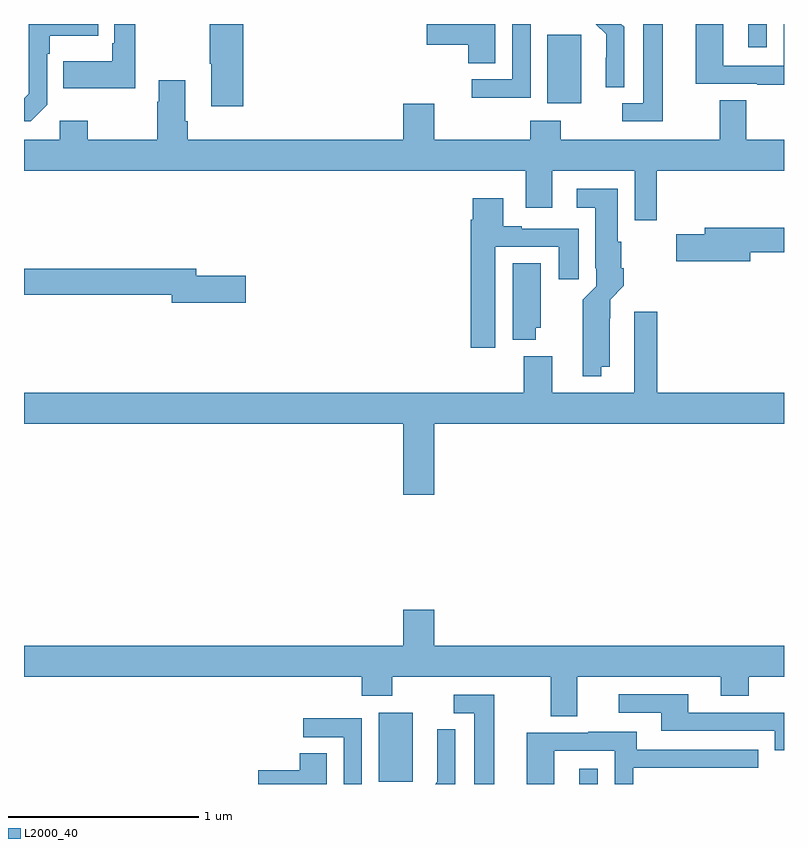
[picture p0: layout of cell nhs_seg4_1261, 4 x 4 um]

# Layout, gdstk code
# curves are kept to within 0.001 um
import gdstk
lib = gdstk.Library(unit=1e-6, precision=1e-09)
def R(c, l, rs):  # rectangles x0, y0, x1, y1
    for r in rs: c.add(gdstk.rectangle(r[:2], r[2:], *l))
def P(c, l, *ps):  # polygons
    for p in ps: c.add(gdstk.Polygon(p, *l))
L2000_40 = (2000, 40)

nhs_seg4_1261 = lib.new_cell('nhs_seg4_1261')
R(nhs_seg4_1261, L2000_40, [(177.923,818.9,178.02,818.98), (176.867,818.913,177.046,819.274), (177.755,822.482,177.934,822.843), (178.811,822.777,178.908,822.9)])
P(nhs_seg4_1261, L2000_40, [(175.585,822.9),(175.476,822.9),(175.476,822.799),(175.464,822.799),(175.464,822.703),(175.207,822.703),(175.207,822.563),(175.585,822.563)],
  [(175.122,822.474),(175.122,822.743),(175.135,822.743),(175.135,822.839),(175.391,822.839),(175.391,822.9),(175.026,822.9),(175.026,822.534),(175,822.508),(175,822.387),(175.035,822.387)],
  [(177.481,822.9),(177.12,822.9),(177.12,822.79),(177.338,822.79),(177.338,822.694),(177.481,822.694)],
  [(178.363,822.9),(178.259,822.9),(178.259,822.483),(178.149,822.483),(178.149,822.387),(178.363,822.387)],
  [(178.158,822.886),(178.144,822.9),(178.008,822.9),(178.064,822.845),(178.064,822.722),(178.062,822.722),(178.062,822.568),(178.158,822.568)],
  [(177.666,822.9),(177.57,822.9),(177.57,822.609),(177.357,822.609),(177.357,822.511),(177.666,822.511)],
  [(176.153,822.9),(175.978,822.9),(175.978,822.691),(175.985,822.691),(175.985,822.468),(176.153,822.468)],
  [(179,822.9),(178.998,822.9),(178.998,822.681),(178.68,822.681),(178.68,822.9),(178.535,822.9),(178.535,822.585),(178.859,822.585),(178.859,822.581),(179,822.581)],
  [(178.331,822.128),(179,822.128),(179,822.292),(178.801,822.292),(178.801,822.5),(178.661,822.5),(178.661,822.292),(177.825,822.292),(177.825,822.391),(177.665,822.391),(177.665,822.292),(177.16,822.292),(177.16,822.481),(176.996,822.481),(176.996,822.292),(175.862,822.292),(175.862,822.388),(175.849,822.388),(175.849,822.604),(175.709,822.604),(175.709,822.491),(175.702,822.491),(175.702,822.292),(175.335,822.292),(175.335,822.391),(175.188,822.391),(175.188,822.292),(175,822.292),(175,822.128),(177.641,822.128),(177.641,821.934),(177.781,821.934),(177.781,822.128),(178.215,822.128),(178.215,821.868),(178.331,821.868)],
  [(178.039,821.096),(178.084,821.096),(178.085,821.45),(178.157,821.522),(178.157,821.614),(178.144,821.614),(178.144,821.754),(178.126,821.754),(178.126,822.034),(177.909,822.034),(177.909,821.933),(178.007,821.933),(178.007,821.614),(178.011,821.614),(178.011,821.52),(177.941,821.45),(177.942,821.045),(178.039,821.045)],
  [(177.481,821.727),(177.815,821.727),(177.815,821.556),(177.919,821.556),(177.919,821.823),(177.619,821.823),(177.619,821.836),(177.523,821.836),(177.523,821.983),(177.362,821.983),(177.362,821.87),(177.35,821.87),(177.35,821.196),(177.481,821.196)],
  [(178.822,821.698),(179,821.698),(179,821.827),(178.583,821.827),(178.583,821.793),(178.434,821.793),(178.434,821.651),(178.822,821.651)],
  [(177.694,821.301),(177.721,821.301),(177.721,821.642),(177.572,821.642),(177.572,821.237),(177.694,821.237)],
  [(176.167,821.576),(175.906,821.576),(175.906,821.612),(175,821.612),(175,821.476),(175.778,821.476),(175.778,821.434),(176.167,821.434)],
  [(177.16,820.796),(179,820.796),(179,820.96),(178.334,820.96),(178.334,821.386),(178.211,821.386),(178.211,820.96),(177.781,820.96),(177.781,821.152),(177.629,821.152),(177.629,820.96),(175,820.96),(175,820.796),(176.996,820.796),(176.996,820.422),(177.16,820.422)],
  [(177.913,819.464),(178.667,819.464),(178.667,819.365),(178.815,819.365),(178.815,819.464),(179,819.464),(179,819.628),(177.16,819.628),(177.16,819.817),(176.996,819.817),(176.996,819.628),(175,819.628),(175,819.464),(176.777,819.464),(176.777,819.365),(176.937,819.365),(176.937,819.464),(177.773,819.464),(177.773,819.256),(177.913,819.256)],
  [(179,819.276),(178.495,819.276),(178.495,819.372),(178.131,819.372),(178.131,819.276),(178.355,819.276),(178.355,819.18),(178.95,819.18),(178.95,819.077),(179,819.077)],
  [(177.475,819.369),(177.261,819.369),(177.261,819.273),(177.371,819.273),(177.371,818.9),(177.475,818.9)],
  [(176.778,819.246),(176.469,819.246),(176.469,819.147),(176.682,819.147),(176.682,818.9),(176.778,818.9)],
  [(177.27,819.188),(177.174,819.188),(177.174,819.034),(177.176,819.034),(177.176,818.912),(177.164,818.9),(177.27,818.9)],
  [(177.792,819.075),(178.11,819.075),(178.11,818.9),(178.206,818.9),(178.206,818.985),(178.865,818.985),(178.865,819.081),(178.225,819.081),(178.225,819.175),(177.971,819.175),(177.971,819.171),(177.647,819.171),(177.647,818.9),(177.792,818.9)],
  [(176.593,819.062),(176.45,819.062),(176.45,818.972),(176.232,818.972),(176.232,818.9),(176.593,818.9)])

lib.write_gds('nhs_seg4_1261.gds')
